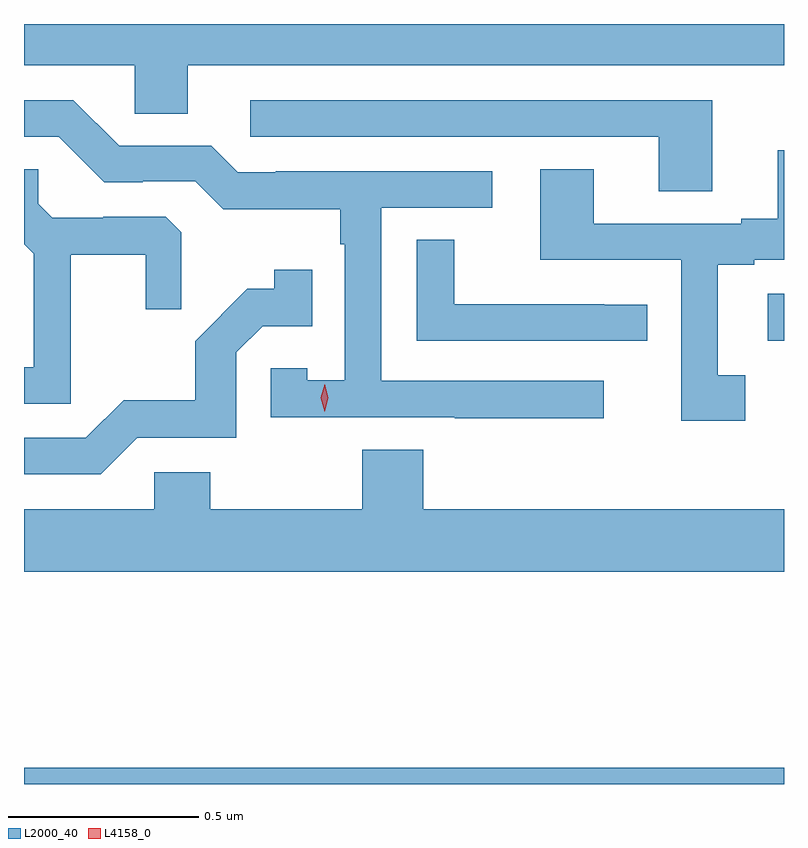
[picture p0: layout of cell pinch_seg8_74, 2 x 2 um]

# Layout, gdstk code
import gdstk
lib = gdstk.Library(unit=1e-6, precision=1e-09)
def R(c, l, rs):  # rectangles x0, y0, x1, y1
    for r in rs: c.add(gdstk.rectangle(r[:2], r[2:], *l))
def P(c, l, *ps):  # polygons
    for p in ps: c.add(gdstk.Polygon(p, *l))
L2000_40 = (2000, 40)
L4158_0 = (4158, 0)

pinch_seg8_74 = lib.new_cell('pinch_seg8_74')
R(pinch_seg8_74, L2000_40, [(957.092,1090.633,959.092,1090.676), (959.049,1091.799,959.092,1091.923)])
P(pinch_seg8_74, L2000_40, [(957.523,1092.524),(959.092,1092.524),(959.092,1092.633),(957.092,1092.633),(957.092,1092.524),(957.384,1092.524),(957.384,1092.397),(957.523,1092.397)],
  [(958.618,1091.694),(958.032,1091.694),(958.032,1092.15),(958.324,1092.15),(958.324,1092.246),(957.754,1092.246),(957.754,1092.243),(957.654,1092.243),(957.585,1092.312),(957.342,1092.312),(957.222,1092.432),(957.092,1092.432),(957.092,1092.336),(957.183,1092.336),(957.303,1092.216),(957.404,1092.216),(957.404,1092.219),(957.543,1092.219),(957.616,1092.146),(957.924,1092.146),(957.924,1092.053),(957.936,1092.053),(957.936,1091.695),(957.837,1091.695),(957.837,1091.727),(957.741,1091.727),(957.741,1091.598),(958.225,1091.598),(958.225,1091.596),(958.618,1091.596)],
  [(958.903,1092.432),(957.687,1092.432),(957.687,1092.336),(958.763,1092.336),(958.763,1092.193),(958.903,1092.193)],
  [(958.99,1091.709),(958.918,1091.709),(958.918,1092),(959.014,1092),(959.014,1092.012),(959.092,1092.012),(959.092,1092.301),(959.075,1092.301),(959.075,1092.121),(958.979,1092.121),(958.979,1092.108),(958.591,1092.108),(958.591,1092.251),(958.451,1092.251),(958.451,1092.012),(958.821,1092.012),(958.821,1091.589),(958.99,1091.589)],
  [(957.215,1092.026),(957.412,1092.026),(957.412,1091.883),(957.506,1091.883),(957.506,1092.085),(957.465,1092.126),(957.3,1092.126),(957.3,1092.123),(957.166,1092.123),(957.129,1092.16),(957.129,1092.251),(957.092,1092.251),(957.092,1092.054),(957.117,1092.029),(957.117,1091.73),(957.092,1091.73),(957.092,1091.634),(957.215,1091.634)],
  [(958.732,1091.894),(958.619,1091.894),(958.619,1091.895),(958.224,1091.895),(958.224,1092.065),(958.125,1092.065),(958.125,1091.799),(958.732,1091.799)],
  [(957.39,1091.544),(957.651,1091.544),(957.651,1091.769),(957.72,1091.838),(957.851,1091.838),(957.851,1091.986),(957.75,1091.986),(957.75,1091.936),(957.68,1091.936),(957.543,1091.798),(957.543,1091.643),(957.354,1091.643),(957.255,1091.544),(957.092,1091.544),(957.092,1091.448),(957.294,1091.448)],
  [(959.092,1091.356),(958.142,1091.356),(958.142,1091.513),(957.982,1091.513),(957.982,1091.356),(957.582,1091.356),(957.582,1091.454),(957.435,1091.454),(957.435,1091.356),(957.092,1091.356),(957.092,1091.192),(959.092,1091.192)])
P(pinch_seg8_74, L4158_0, [(957.883,1091.613),(957.883,1091.613),(957.873,1091.649),(957.883,1091.685),(957.883,1091.685),(957.883,1091.685),(957.893,1091.649),(957.883,1091.613)])

lib.write_gds('pinch_seg8_74.gds')
